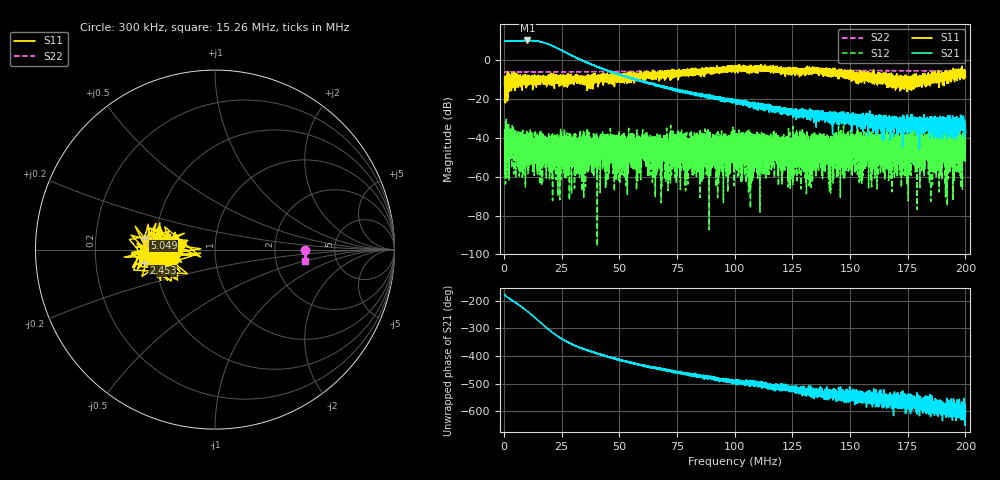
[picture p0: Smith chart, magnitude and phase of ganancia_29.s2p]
# Hz S DB R 50
! CMT, M5065, 19127446, 24.2.4/2
! Date: 10/29/2024 12:30:39 PM
! Data: Format (Calibration Info)
! Freq	S11:dB/Ang(F2)	S21:dB/Ang(F2)	S12:dB/Ang(F2)	S22:dB/Ang(F2)
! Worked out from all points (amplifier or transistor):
!   9000 points, 300 kHz to 200 MHz, reference 50 ohm
!   highest |S21| = 10.3 dB at 10.2 MHz (marker M1)
!   |S21| within 3 dB of that: start of sweep to 21.33 MHz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
!   unconditionally stable (mu >= 1): start of sweep to end of sweep
!   at 33.59 MHz: K = 156.53, MAG = 2.0 dB, |S12| = -53.8 dB
!   at 100.2 MHz: K = 774.58, MAG = -17.6 dB, |S12| = -49.9 dB
!   at 200 MHz: K = 2638.76, MAG = -33.2 dB, |S12| = -43.4 dB
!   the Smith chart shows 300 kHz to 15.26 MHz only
!   S11 on the Smith chart (normalised r, x): 300 kHz: 0.63, -0.07; 2.453 MHz: 0.43, -0.08; 5.049 MHz: 0.43, +0.07; 15.26 MHz: 0.58, -0.09
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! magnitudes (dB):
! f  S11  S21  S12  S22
! 300 kHz  -12.8  9.9  -40.3  -6.0
! 2.453 MHz  -7.9  9.9  -41.6  -6.0
! 5.049 MHz  -8.0  10.0  -40.6  -6.0
! 10.2 MHz  -13.0  10.3  -45.1  -5.9
! 15.26 MHz  -11.4  9.7  -42.4  -5.9
! 33.59 MHz  -9.4  0.2  -53.8  -5.9
! 46.13 MHz  -8.9  -5.8  -35.1  -5.8
! 52.89 MHz  -6.6  -8.2  -43.8  -5.8
! 54.87 MHz  -9.0  -9.3  -51.7  -5.7
! 57.42 MHz  -9.0  -9.8  -40.9  -5.7
! 60.55 MHz  -8.7  -11.2  -46.5  -5.7
! 66.87 MHz  -7.1  -13.2  -46.2  -5.7
! 79.7 MHz  -5.4  -16.2  -44.7  -5.6
! 87.42 MHz  -6.2  -18.4  -44.1  -5.6
! 89.46 MHz  -7.0  -18.2  -37.8  -5.6
! 100.2 MHz  -3.7  -21.4  -49.9  -5.6
! 133.4 MHz  -5.6  -26.9  -54.3  -5.3
! 166.7 MHz  -10.5  -30.5  -39.8  -5.3
! 174.4 MHz  -11.6  -30.8  -54.5  -5.3
! 193.5 MHz  -7.4  -33.3  -42.5  -5.5
! 197.8 MHz  -8.1  -30.1  -43.0  -5.5
! 200 MHz  -8.2  -35.4  -43.4  -5.5
